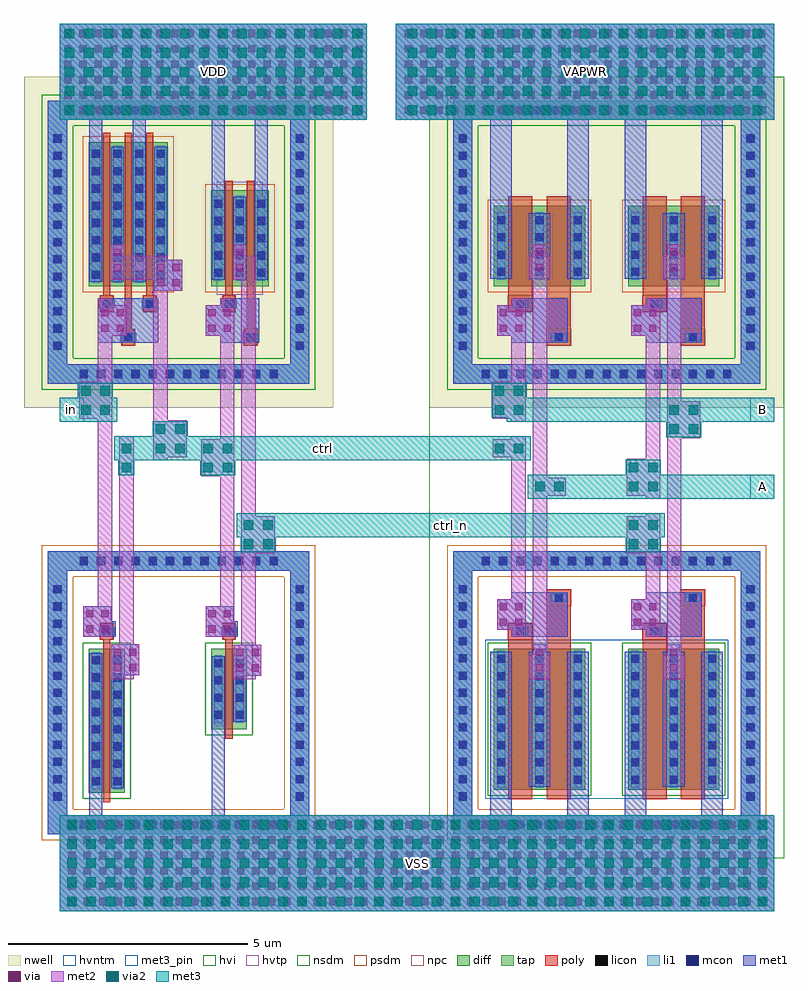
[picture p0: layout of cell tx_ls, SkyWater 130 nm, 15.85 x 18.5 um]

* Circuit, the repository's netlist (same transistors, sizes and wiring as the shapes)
* tx_ls: xschem/tx_ls.sch with {'kn': 14, 'kp': 8, 'wpi': 9, 'wni': 3} (layout/gen/tx_ls.py)
** sch_path: /Users/mattvenn/asic/ook-asic-radio-txls/xschem/tx_ls.sch
.subckt tx_ls in A B VDD VAPWR VSS
*.PININFO VDD:B VAPWR:B VSS:B in:B A:B B:B
XMi1p ctrl in VDD VDD sky130_fd_pr__pfet_01v8 L=0.15 W=9 nf=1
XMi1n ctrl in VSS VSS sky130_fd_pr__nfet_01v8 L=0.15 W=3 nf=1
XM8 ctrl_n ctrl VDD VDD sky130_fd_pr__pfet_01v8_hvt L=0.15 W=4 nf=1
XM7 ctrl_n ctrl VSS VSS sky130_fd_pr__nfet_01v8 L=0.15 W=1.68 nf=1
XM9 A ctrl VSS VSS sky130_fd_pr__nfet_g5v0d10v5 L=0.5 W=5.88 nf=1
XM10 B ctrl_n VSS VSS sky130_fd_pr__nfet_g5v0d10v5 L=0.5 W=5.88 nf=1
XM11 A B VAPWR VAPWR sky130_fd_pr__pfet_g5v0d10v5 L=0.5 W=3.36 nf=1
XM12 B A VAPWR VAPWR sky130_fd_pr__pfet_g5v0d10v5 L=0.5 W=3.36 nf=1
.ends

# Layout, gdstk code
import gdstk
lib = gdstk.Library(unit=1e-6, precision=1e-09)
def R(c, l, rs):  # rectangles x0, y0, x1, y1
    for r in rs: c.add(gdstk.rectangle(r[:2], r[2:], *l))
def A(c, l, x, y, w, h, nx, ny, dx, dy):  # array of equal rectangles
    R(c, l, [(x+i*dx, y+j*dy, x+i*dx+w, y+j*dy+h) for i in range(nx) for j in range(ny)])
def P(c, l, *ps):  # polygons
    for p in ps: c.add(gdstk.Polygon(p, *l))
nwell = (64, 20)
diff = (65, 20)
tap = (65, 44)
poly = (66, 20)
licon = (66, 44)
li1 = (67, 20)
mcon = (67, 44)
met1 = (68, 20)
via = (68, 44)
met2 = (69, 20)
via2 = (69, 44)
met3_pin = (70, 16)
met3 = (70, 20)
hvi = (75, 20)
hvtp = (78, 44)
nsdm = (93, 44)
psdm = (94, 20)
npc = (95, 20)
hvntm = (125, 20)

tx_ls = lib.new_cell('tx_ls')
R(tx_ls, nwell, [(-0.75,1.25,5.7,8.15), (7.7,1.25,15.1,8.15), (8.585,2.2,11.415,6), (11.385,2.2,14.215,6), (0.295,2.36,2.555,7.16), (2.845,2.36,4.655,6.16)])
R(tx_ls, diff, [(0.6,-6.78,1.35,-3.78), (9.05,-6.72,10.95,-3.78), (11.85,-6.72,13.75,-3.78), (3.15,-5.46,3.9,-3.78), (0.6,3.78,2.25,6.78), (3.15,3.78,4.35,5.78), (9.05,3.78,10.95,5.46), (11.85,3.78,13.75,5.46)])
P(tx_ls, tap, [(-0.25,1.75),(-0.25,7.25),(0.15,7.25),(0.15,2.15),(4.8,2.15),(4.8,7.25),(-0.25,7.25),(-0.25,7.65),(5.2,7.65),(5.2,1.75)],
  [(-0.25,-7.65),(-0.25,-2.15),(0.15,-2.15),(0.15,-7.25),(4.8,-7.25),(4.8,-2.15),(-0.25,-2.15),(-0.25,-1.75),(5.2,-1.75),(5.2,-7.65)],
  [(8.2,1.75),(8.2,7.25),(8.6,7.25),(8.6,2.15),(14.2,2.15),(14.2,7.25),(8.2,7.25),(8.2,7.65),(14.6,7.65),(14.6,1.75)],
  [(8.2,-7.65),(8.2,-2.15),(8.6,-2.15),(8.6,-7.25),(14.2,-7.25),(14.2,-2.15),(8.2,-2.15),(8.2,-1.75),(14.6,-1.75),(14.6,-7.65)])
R(tx_ls, poly, [(0.9,-6.98,1.05,-3.58), (9.35,-6.92,9.85,-3.58), (10.15,-6.92,10.65,-2.88), (12.15,-6.92,12.65,-3.58), (12.95,-6.92,13.45,-2.88), (3.45,-5.66,3.6,-3.58), (0.84,-3.58,1.11,-3.25), (3.39,-3.58,3.66,-3.25), (9.35,-3.58,9.85,-3.25), (12.15,-3.58,12.65,-3.25), (10.15,-2.88,10.65,-2.55), (12.95,-2.88,13.45,-2.55), (1.29,2.55,1.56,2.88), (3.84,2.55,4.11,2.88), (10.15,2.55,10.65,2.88), (12.95,2.55,13.45,2.88), (1.35,2.88,1.5,6.98), (3.9,2.88,4.05,5.98), (10.15,2.88,10.65,5.66), (12.95,2.88,13.45,5.66), (0.84,3.25,1.11,3.58), (1.74,3.25,2.01,3.58), (3.39,3.25,3.66,3.58), (9.35,3.25,9.85,3.58), (12.15,3.25,12.65,3.58), (0.9,3.58,1.05,6.98), (1.8,3.58,1.95,6.98), (3.45,3.58,3.6,5.98), (9.35,3.58,9.85,5.66), (12.15,3.58,12.65,5.66)])
A(tx_ls, licon, 0.41, -7.535, 0.17, 0.17, 12, 2, 0.36, 5.5)
A(tx_ls, licon, 8.795, -7.535, 0.17, 0.17, 15, 2, 0.36, 5.5)
A(tx_ls, licon, -0.135, -6.945, 0.17, 0.17, 1, 13, 0, 0.36)
A(tx_ls, licon, 4.915, -6.945, 0.17, 0.17, 1, 13, 0, 0.36)
A(tx_ls, licon, 8.315, -6.945, 0.17, 0.17, 1, 13, 0, 0.36)
A(tx_ls, licon, 14.315, -6.945, 0.17, 0.17, 1, 13, 0, 0.36)
A(tx_ls, licon, 0.665, -6.625, 0.17, 0.17, 1, 8, 0, 0.36)
A(tx_ls, licon, 1.115, -6.625, 0.17, 0.17, 1, 8, 0, 0.36)
A(tx_ls, licon, 9.115, -6.595, 0.17, 0.17, 3, 8, 0.8, 0.36)
A(tx_ls, licon, 11.915, -6.595, 0.17, 0.17, 3, 8, 0.8, 0.36)
A(tx_ls, licon, 3.215, -5.245, 0.17, 0.17, 1, 4, 0, 0.36)
A(tx_ls, licon, 3.665, -5.245, 0.17, 0.17, 1, 4, 0, 0.36)
A(tx_ls, licon, 0.41, 1.865, 0.17, 0.17, 12, 2, 0.36, 5.5)
A(tx_ls, licon, 8.795, 1.865, 0.17, 0.17, 15, 2, 0.36, 5.5)
A(tx_ls, licon, -0.135, 2.455, 0.17, 0.17, 1, 13, 0, 0.36)
A(tx_ls, licon, 4.915, 2.455, 0.17, 0.17, 1, 13, 0, 0.36)
A(tx_ls, licon, 8.315, 2.455, 0.17, 0.17, 1, 13, 0, 0.36)
A(tx_ls, licon, 14.315, 2.455, 0.17, 0.17, 1, 13, 0, 0.36)
A(tx_ls, licon, 0.665, 3.935, 0.17, 0.17, 4, 8, 0.45, 0.36)
A(tx_ls, licon, 3.215, 3.975, 0.17, 0.17, 3, 5, 0.45, 0.36)
A(tx_ls, licon, 9.115, 3.995, 0.17, 0.17, 3, 4, 0.8, 0.36)
A(tx_ls, licon, 11.915, 3.995, 0.17, 0.17, 3, 4, 0.8, 0.36)
R(tx_ls, licon, [(0.89,-3.5,1.06,-3.33), (3.44,-3.5,3.61,-3.33), (9.515,-3.5,9.685,-3.33), (12.315,-3.5,12.485,-3.33), (10.315,-2.8,10.485,-2.63), (13.115,-2.8,13.285,-2.63), (1.34,2.63,1.51,2.8), (3.89,2.63,4.06,2.8), (10.315,2.63,10.485,2.8), (13.115,2.63,13.285,2.8), (0.89,3.33,1.06,3.5), (1.79,3.33,1.96,3.5), (3.44,3.33,3.61,3.5), (9.515,3.33,9.685,3.5), (12.315,3.33,12.485,3.5)])
A(tx_ls, li1, 9.115, -6.675, 0.17, 2.85, 3, 1, 0.8, 0)
A(tx_ls, li1, 11.915, -6.675, 0.17, 2.85, 3, 1, 0.8, 0)
A(tx_ls, li1, 0.665, 3.855, 0.17, 2.85, 4, 1, 0.45, 0)
A(tx_ls, li1, 3.215, 3.895, 0.17, 1.77, 3, 1, 0.45, 0)
A(tx_ls, li1, 9.115, 3.915, 0.17, 1.41, 3, 1, 0.8, 0)
A(tx_ls, li1, 11.915, 3.915, 0.17, 1.41, 3, 1, 0.8, 0)
R(tx_ls, li1, [(0.665,-6.705,0.835,-3.855), (1.115,-6.705,1.285,-3.855), (3.215,-5.325,3.385,-3.915), (3.665,-5.325,3.835,-3.915), (0.81,-3.5,1.14,-3.33), (3.36,-3.5,3.69,-3.33), (9.435,-3.5,9.765,-3.33), (12.235,-3.5,12.565,-3.33), (10.235,-2.8,10.565,-2.63), (13.035,-2.8,13.365,-2.63), (1.26,2.63,1.59,2.8), (3.81,2.63,4.14,2.8), (10.235,2.63,10.565,2.8), (13.035,2.63,13.365,2.8), (0.81,3.33,1.14,3.5), (1.71,3.33,2.04,3.5), (3.36,3.33,3.69,3.5), (9.435,3.33,9.765,3.5), (12.235,3.33,12.565,3.5)])
P(tx_ls, li1, [(-0.25,1.75),(-0.25,7.25),(0.15,7.25),(0.15,2.15),(4.8,2.15),(4.8,7.25),(-0.25,7.25),(-0.25,7.65),(5.2,7.65),(5.2,1.75)],
  [(-0.25,-7.65),(-0.25,-2.15),(0.15,-2.15),(0.15,-7.25),(4.8,-7.25),(4.8,-2.15),(-0.25,-2.15),(-0.25,-1.75),(5.2,-1.75),(5.2,-7.65)],
  [(8.2,1.75),(8.2,7.25),(8.6,7.25),(8.6,2.15),(14.2,2.15),(14.2,7.25),(8.2,7.25),(8.2,7.65),(14.6,7.65),(14.6,1.75)],
  [(8.2,-7.65),(8.2,-2.15),(8.6,-2.15),(8.6,-7.25),(14.2,-7.25),(14.2,-2.15),(8.2,-2.15),(8.2,-1.75),(14.6,-1.75),(14.6,-7.65)])
A(tx_ls, mcon, 0.41, -7.535, 0.17, 0.17, 12, 2, 0.36, 5.5)
A(tx_ls, mcon, 8.795, -7.535, 0.17, 0.17, 15, 2, 0.36, 5.5)
A(tx_ls, mcon, -0.135, -6.945, 0.17, 0.17, 1, 13, 0, 0.36)
A(tx_ls, mcon, 4.915, -6.945, 0.17, 0.17, 1, 13, 0, 0.36)
A(tx_ls, mcon, 8.315, -6.945, 0.17, 0.17, 1, 13, 0, 0.36)
A(tx_ls, mcon, 14.315, -6.945, 0.17, 0.17, 1, 13, 0, 0.36)
A(tx_ls, mcon, 0.665, -6.625, 0.17, 0.17, 1, 8, 0, 0.36)
A(tx_ls, mcon, 1.115, -6.625, 0.17, 0.17, 1, 8, 0, 0.36)
A(tx_ls, mcon, 9.115, -6.595, 0.17, 0.17, 3, 8, 0.8, 0.36)
A(tx_ls, mcon, 11.915, -6.595, 0.17, 0.17, 3, 8, 0.8, 0.36)
A(tx_ls, mcon, 3.215, -5.245, 0.17, 0.17, 1, 4, 0, 0.36)
A(tx_ls, mcon, 3.665, -5.245, 0.17, 0.17, 1, 4, 0, 0.36)
A(tx_ls, mcon, 0.41, 1.865, 0.17, 0.17, 12, 2, 0.36, 5.5)
A(tx_ls, mcon, 8.795, 1.865, 0.17, 0.17, 15, 2, 0.36, 5.5)
A(tx_ls, mcon, -0.135, 2.455, 0.17, 0.17, 1, 13, 0, 0.36)
A(tx_ls, mcon, 4.915, 2.455, 0.17, 0.17, 1, 13, 0, 0.36)
A(tx_ls, mcon, 8.315, 2.455, 0.17, 0.17, 1, 13, 0, 0.36)
A(tx_ls, mcon, 14.315, 2.455, 0.17, 0.17, 1, 13, 0, 0.36)
A(tx_ls, mcon, 0.665, 3.935, 0.17, 0.17, 4, 8, 0.45, 0.36)
A(tx_ls, mcon, 3.215, 3.975, 0.17, 0.17, 3, 5, 0.45, 0.36)
A(tx_ls, mcon, 9.115, 3.995, 0.17, 0.17, 3, 4, 0.8, 0.36)
A(tx_ls, mcon, 11.915, 3.995, 0.17, 0.17, 3, 4, 0.8, 0.36)
R(tx_ls, mcon, [(0.89,-3.5,1.06,-3.33), (3.44,-3.5,3.61,-3.33), (9.515,-3.5,9.685,-3.33), (12.315,-3.5,12.485,-3.33), (10.315,-2.8,10.485,-2.63), (13.115,-2.8,13.285,-2.63), (1.34,2.63,1.51,2.8), (3.89,2.63,4.06,2.8), (10.315,2.63,10.485,2.8), (13.115,2.63,13.285,2.8), (0.89,3.33,1.06,3.5), (1.79,3.33,1.96,3.5), (3.44,3.33,3.61,3.5), (9.515,3.33,9.685,3.5), (12.315,3.33,12.485,3.5)])
A(tx_ls, met1, 9.085, -6.655, 0.23, 2.81, 3, 1, 0.8, 0)
A(tx_ls, met1, 11.885, -6.655, 0.23, 2.81, 3, 1, 0.8, 0)
A(tx_ls, met1, 0.635, 3.875, 0.23, 2.81, 4, 1, 0.45, 0)
A(tx_ls, met1, 3.185, 3.915, 0.23, 1.73, 3, 1, 0.45, 0)
A(tx_ls, met1, 9.085, 3.935, 0.23, 1.37, 3, 1, 0.8, 0)
A(tx_ls, met1, 11.885, 3.935, 0.23, 1.37, 3, 1, 0.8, 0)
R(tx_ls, met1, [(0,-9.25,14.9,-7.25), (0.615,-7.65,0.885,-3.875), (3.165,-7.65,3.435,-3.935), (8.975,-7.65,9.425,-3.845), (10.575,-7.65,11.025,-3.845), (11.775,-7.65,12.225,-3.845), (13.375,-7.65,13.825,-3.845), (0.635,-6.685,0.865,-3.875), (1.065,-6.685,1.335,-3.875), (1.085,-6.685,1.315,-3.875), (9.775,-6.655,10.225,-3.845), (12.575,-6.655,13.025,-3.845), (3.185,-5.305,3.415,-3.935), (3.615,-5.305,3.885,-3.935), (3.635,-5.305,3.865,-3.935), (9.87,-3.845,10.13,-3.69), (12.67,-3.845,12.93,-3.69), (0.79,-3.53,1.16,-3.3), (0.79,-3.53,1.16,-3.21), (3.34,-3.53,3.71,-3.3), (3.34,-3.53,3.71,-3.21), (9.415,-3.53,9.785,-3.3), (9.415,-3.53,10.585,-2.6), (12.215,-3.53,12.585,-3.3), (12.215,-3.53,13.385,-2.6), (9.115,-3.385,9.415,-2.745), (11.915,-3.385,12.215,-2.745), (10.215,-2.83,10.585,-2.6), (13.015,-2.83,13.385,-2.6), (0.79,2.6,2.055,3.53), (1.24,2.6,1.61,2.83), (3.34,2.6,4.16,3.53), (3.79,2.6,4.16,2.83), (9.415,2.6,10.585,3.53), (10.215,2.6,10.585,2.83), (12.215,2.6,13.385,3.53), (13.015,2.6,13.385,2.83), (3.04,2.745,3.34,3.385), (9.115,2.745,9.415,3.385), (11.915,2.745,12.215,3.385), (0.79,3.3,1.16,3.53), (1.69,3.3,2.055,3.53), (3.34,3.3,3.71,3.53), (9.415,3.3,9.785,3.53), (12.215,3.3,12.585,3.53), (0.615,3.875,0.885,7.65), (1.065,3.875,1.335,6.685), (1.515,3.875,1.785,7.65), (1.965,3.875,2.235,6.685), (3.165,3.915,3.435,7.65), (3.615,3.915,3.885,5.645), (4.065,3.915,4.335,7.65), (8.975,3.935,9.425,7.65), (9.775,3.935,10.225,5.305), (10.575,3.935,11.025,7.65), (11.775,3.935,12.225,7.65), (12.575,3.935,13.025,5.305), (13.375,3.935,13.825,7.65), (0,7.25,6.4,9.25), (7,7.25,14.9,9.25)])
P(tx_ls, met1, [(-0.25,1.75),(-0.25,7.25),(0.15,7.25),(0.15,2.15),(4.8,2.15),(4.8,7.25),(-0.25,7.25),(-0.25,7.65),(5.2,7.65),(5.2,1.75)],
  [(-0.25,-7.65),(-0.25,-2.15),(0.15,-2.15),(0.15,-7.25),(4.8,-7.25),(4.8,-2.15),(-0.25,-2.15),(-0.25,-1.75),(5.2,-1.75),(5.2,-7.65)],
  [(8.2,1.75),(8.2,7.25),(8.6,7.25),(8.6,2.15),(14.2,2.15),(14.2,7.25),(8.2,7.25),(8.2,7.65),(14.6,7.65),(14.6,1.75)],
  [(8.2,-7.65),(8.2,-2.15),(8.6,-2.15),(8.6,-7.25),(14.2,-7.25),(14.2,-2.15),(8.2,-2.15),(8.2,-1.75),(14.6,-1.75),(14.6,-7.65)],
  [(3.885,-4.34),(3.885,-3.935),(3.62,-3.935),(3.62,-3.7),(4.2,-3.7),(4.2,-4.34)],
  [(1.335,-4.33),(1.335,-3.875),(1.07,-3.875),(1.07,-3.69),(1.65,-3.69),(1.65,-4.33)],
  [(0.49,-3.53),(0.49,-2.89),(1.07,-2.89),(1.07,-3.21),(0.79,-3.21),(0.79,-3.53)],
  [(3.04,-3.53),(3.04,-2.89),(3.62,-2.89),(3.62,-3.21),(3.34,-3.21),(3.34,-3.53)],
  [(1.97,3.69),(1.97,3.875),(2.235,3.875),(2.235,4.33),(2.55,4.33),(2.55,3.69)])
A(tx_ls, via, 0.175, -9.125, 0.15, 0.15, 46, 6, 0.32, 0.32)
A(tx_ls, via, 0.085, 7.375, 0.15, 0.15, 20, 6, 0.32, 0.32)
A(tx_ls, via, 7.195, 7.375, 0.15, 0.15, 24, 6, 0.32, 0.32)
R(tx_ls, via, [(3.675,-4.255,3.825,-4.105), (3.995,-4.255,4.145,-4.105), (1.125,-4.245,1.275,-4.095), (1.445,-4.245,1.595,-4.095), (9.925,-4.245,10.075,-4.095), (12.725,-4.245,12.875,-4.095), (3.675,-3.935,3.825,-3.785), (3.995,-3.935,4.145,-3.785), (1.125,-3.925,1.275,-3.775), (1.445,-3.925,1.595,-3.775), (9.925,-3.925,10.075,-3.775), (12.725,-3.925,12.875,-3.775), (0.545,-3.445,0.695,-3.295), (0.865,-3.445,1.015,-3.295), (3.095,-3.445,3.245,-3.295), (3.415,-3.445,3.565,-3.295), (9.17,-3.3,9.32,-3.15), (9.49,-3.3,9.64,-3.15), (11.97,-3.3,12.12,-3.15), (12.29,-3.3,12.44,-3.15), (0.545,-3.125,0.695,-2.975), (0.865,-3.125,1.015,-2.975), (3.095,-3.125,3.245,-2.975), (3.415,-3.125,3.565,-2.975), (9.17,-2.98,9.32,-2.83), (9.49,-2.98,9.64,-2.83), (11.97,-2.98,12.12,-2.83), (12.29,-2.98,12.44,-2.83), (0.865,2.83,1.015,2.98), (1.185,2.83,1.335,2.98), (3.095,2.83,3.245,2.98), (3.415,2.83,3.565,2.98), (9.17,2.83,9.32,2.98), (9.49,2.83,9.64,2.98), (11.97,2.83,12.12,2.98), (12.29,2.83,12.44,2.98), (0.865,3.15,1.015,3.3), (1.185,3.15,1.335,3.3), (3.095,3.15,3.245,3.3), (3.415,3.15,3.565,3.3), (9.17,3.15,9.32,3.3), (9.49,3.15,9.64,3.3), (11.97,3.15,12.12,3.3), (12.29,3.15,12.44,3.3), (2.025,3.775,2.175,3.925), (2.345,3.775,2.495,3.925), (1.125,4.095,1.275,4.245), (2.025,4.095,2.175,4.245), (2.345,4.095,2.495,4.245), (3.675,4.095,3.825,4.245), (9.925,4.1,10.075,4.25), (12.725,4.1,12.875,4.25), (1.125,4.415,1.275,4.565), (3.675,4.415,3.825,4.565), (9.925,4.42,10.075,4.57), (12.725,4.42,12.875,4.57)])
R(tx_ls, met2, [(0,-9.25,14.9,-7.25), (1.065,-4.42,1.535,-3.92), (3.615,-4.42,4.085,-3.92), (9.775,-4.42,10.225,-3.92), (12.575,-4.42,13.025,-3.92), (4.085,-4.34,4.2,-3.7), (1.535,-4.33,1.65,-3.69), (1.07,-3.92,1.235,-3.69), (1.235,-3.92,1.535,0.65), (3.62,-3.92,3.785,-3.7), (3.785,-3.92,4.085,-0.95), (9.86,-3.92,10.16,-0.15), (12.66,-3.92,12.96,1.45), (0.49,-3.53,0.79,-2.89), (0.79,-3.53,1.09,1.45), (3.04,-3.53,3.34,-2.89), (3.34,-3.53,3.64,0.65), (9.415,-3.53,9.715,0.65), (12.215,-3.53,12.515,-0.95), (9.115,-3.385,9.415,-2.745), (11.915,-3.385,12.215,-2.745), (4.085,-1.785,4.475,-1.015), (11.825,-1.785,12.215,-1.015), (3.785,-1.45,4.085,3.92), (9.86,-0.65,10.16,3.92), (12.215,-0.65,12.515,3.53), (10.16,-0.585,10.55,-0.215), (11.825,-0.585,12.215,0.185), (2.95,-0.185,3.34,0.585), (1.95,0.15,2.25,3.92), (3.34,0.15,3.64,3.53), (2.25,0.215,2.64,0.985), (9.025,0.215,9.415,0.585), (12.96,0.615,13.35,1.385), (0.79,0.95,1.09,3.53), (9.415,0.95,9.715,3.53), (12.66,0.95,12.96,3.92), (0.4,1.015,0.79,1.785), (9.025,1.015,9.415,1.785), (1.09,2.745,1.39,3.385), (3.04,2.745,3.34,3.385), (9.115,2.745,9.415,3.385), (11.915,2.745,12.215,3.385), (2.25,3.69,2.55,4.33), (1.065,3.92,2.25,4.42), (3.615,3.92,4.085,4.42), (9.775,3.92,10.225,4.42), (12.575,3.92,13.025,4.42), (1.07,4.42,1.33,4.65), (3.62,4.42,3.88,4.65), (9.87,4.42,10.13,4.655), (12.67,4.42,12.93,4.655), (0,7.25,6.4,9.25), (7,7.25,14.9,9.25)])
A(tx_ls, via2, 0.15, -9.15, 0.2, 0.2, 37, 5, 0.4, 0.4)
A(tx_ls, via2, 0.1, 7.35, 0.2, 0.2, 16, 5, 0.4, 0.4)
A(tx_ls, via2, 7.25, 7.35, 0.2, 0.2, 19, 5, 0.4, 0.4)
R(tx_ls, via2, [(3.835,-1.7,4.035,-1.5), (4.235,-1.7,4.435,-1.5), (11.865,-1.7,12.065,-1.5), (12.265,-1.7,12.465,-1.5), (3.835,-1.3,4.035,-1.1), (3.835,-1.3,4.035,-1.1), (4.235,-1.3,4.435,-1.1), (11.865,-1.3,12.065,-1.1), (12.265,-1.3,12.465,-1.1), (9.91,-0.5,10.11,-0.3), (9.91,-0.5,10.11,-0.3), (10.31,-0.5,10.51,-0.3), (11.865,-0.5,12.065,-0.3), (12.265,-0.5,12.465,-0.3), (1.285,-0.1,1.485,0.1), (2.99,-0.1,3.19,0.1), (3.39,-0.1,3.59,0.1), (11.865,-0.1,12.065,0.1), (12.265,-0.1,12.465,0.1), (1.285,0.3,1.485,0.5), (2,0.3,2.2,0.5), (2.4,0.3,2.6,0.5), (2.99,0.3,3.19,0.5), (3.39,0.3,3.59,0.5), (3.39,0.3,3.59,0.5), (9.065,0.3,9.265,0.5), (9.465,0.3,9.665,0.5), (2,0.7,2.2,0.9), (2.4,0.7,2.6,0.9), (12.71,0.7,12.91,0.9), (13.11,0.7,13.31,0.9), (0.44,1.1,0.64,1.3), (0.84,1.1,1.04,1.3), (0.84,1.1,1.04,1.3), (9.065,1.1,9.265,1.3), (9.465,1.1,9.665,1.3), (12.71,1.1,12.91,1.3), (12.71,1.1,12.91,1.3), (13.11,1.1,13.31,1.3), (0.44,1.5,0.64,1.7), (0.84,1.5,1.04,1.7), (9.065,1.5,9.265,1.7), (9.465,1.5,9.665,1.7)])
R(tx_ls, met3_pin, [(0,-9.25,14.9,-7.25), (14.4,-0.65,14.9,-0.15), (0,0.95,0.5,1.45), (14.4,0.95,14.9,1.45), (0,7.25,6.4,9.25), (7,7.25,14.9,9.25)])
R(tx_ls, met3, [(0,-9.25,14.9,-7.25), (3.77,-1.765,4.5,-1.45), (11.8,-1.765,12.53,-1.45), (3.685,-1.45,12.615,-0.95), (9.76,-0.65,14.9,-0.15), (1.22,-0.165,1.55,0.15), (2.925,-0.165,3.655,0.15), (11.8,-0.15,12.53,0.165), (1.135,0.15,9.815,0.65), (12.645,0.635,13.375,0.95), (1.935,0.65,2.665,0.965), (0,0.95,1.19,1.45), (9.315,0.95,14.9,1.45), (0.375,1.45,1.105,1.765), (0,7.25,6.4,9.25), (7,7.25,14.9,9.25)])
P(tx_ls, met3, [(9,1.035),(9,1.765),(9.73,1.765),(9.73,1.45),(9.315,1.45),(9.315,1.035)])
R(tx_ls, hvi, [(7.7,-8.15,15.1,8.15), (8.68,-7.105,11.32,-2.355), (11.48,-7.105,14.12,-2.355), (8.585,2.2,11.415,6), (11.385,2.2,14.215,6)])
R(tx_ls, hvtp, [(3.27,3.6,4.23,5.96)])
R(tx_ls, nsdm, [(0.475,-6.905,1.475,-3.655), (8.925,-6.845,11.075,-3.655), (11.725,-6.845,13.875,-3.655), (3.025,-5.585,4.025,-3.655)])
P(tx_ls, nsdm, [(-0.375,1.625),(-0.375,7.125),(0.275,7.125),(0.275,2.275),(4.675,2.275),(4.675,7.125),(-0.375,7.125),(-0.375,7.775),(5.325,7.775),(5.325,1.625)],
  [(8.075,1.625),(8.075,7.125),(8.725,7.125),(8.725,2.275),(14.075,2.275),(14.075,7.125),(8.075,7.125),(8.075,7.775),(14.725,7.775),(14.725,1.625)])
R(tx_ls, psdm, [(0.475,3.655,2.375,6.905), (3.025,3.655,4.475,5.905), (8.925,3.655,11.075,5.585), (11.725,3.655,13.875,5.585)])
P(tx_ls, psdm, [(-0.375,-7.775),(-0.375,-2.275),(0.275,-2.275),(0.275,-7.125),(4.675,-7.125),(4.675,-2.275),(-0.375,-2.275),(-0.375,-1.625),(5.325,-1.625),(5.325,-7.775)],
  [(8.075,-7.775),(8.075,-2.275),(8.725,-2.275),(8.725,-7.125),(14.075,-7.125),(14.075,-2.275),(8.075,-2.275),(8.075,-1.625),(14.725,-1.625),(14.725,-7.775)])
R(tx_ls, npc, [(0.83,-3.59,1.12,-3.24), (3.38,-3.59,3.67,-3.24), (9.34,-3.59,9.86,-3.24), (12.14,-3.59,12.66,-3.24), (10.14,-2.89,10.66,-2.54), (12.94,-2.89,13.46,-2.54), (1.28,2.54,1.57,2.89), (3.83,2.54,4.12,2.89), (10.14,2.54,10.66,2.89), (12.94,2.54,13.46,2.89), (0.83,3.24,1.12,3.59), (1.73,3.24,2.02,3.59), (3.38,3.24,3.67,3.59), (9.34,3.24,9.86,3.59), (12.14,3.24,12.66,3.59)])
R(tx_ls, hvntm, [(8.865,-6.905,11.135,-3.595), (8.865,-6.905,13.935,-3.595), (11.665,-6.905,13.935,-3.595)])
tx_ls.add(gdstk.Label('VDD', (3.2,8.25), layer=70, texttype=5))
tx_ls.add(gdstk.Label('VAPWR', (10.95,8.25), layer=70, texttype=5))
tx_ls.add(gdstk.Label('VSS', (7.45,-8.25), layer=70, texttype=5))
tx_ls.add(gdstk.Label('in', (0.25,1.2), layer=70, texttype=5))
tx_ls.add(gdstk.Label('B', (14.65,1.2), layer=70, texttype=5))
tx_ls.add(gdstk.Label('ctrl', (5.475,0.4), layer=70, texttype=5))
tx_ls.add(gdstk.Label('A', (14.65,-0.4), layer=70, texttype=5))
tx_ls.add(gdstk.Label('ctrl_n', (8.15,-1.2), layer=70, texttype=5))

lib.write_gds('tx_ls.gds')
